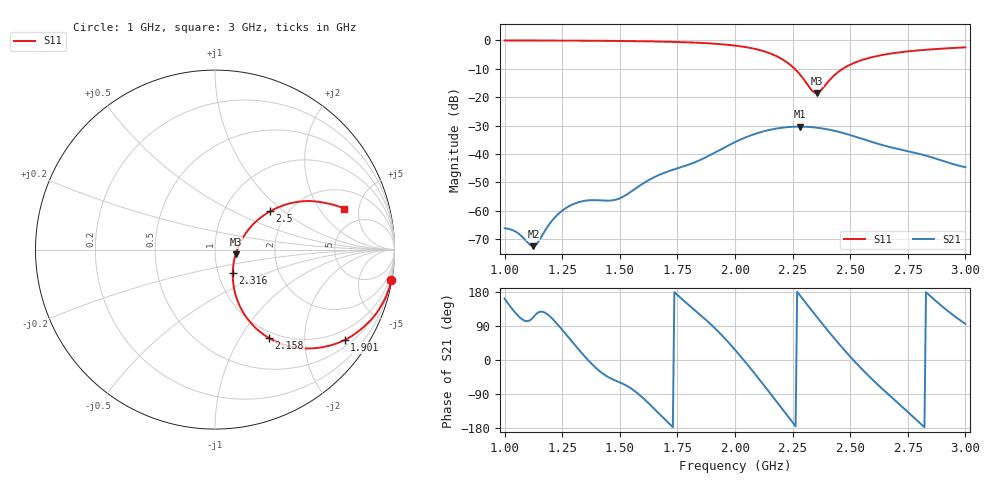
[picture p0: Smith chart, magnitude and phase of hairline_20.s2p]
! TOUCHSTONE file generated by CST MICROWAVE STUDIO
! Date and time: Tue Mar 18 20:31:44 2025
! Project name: hairline.cst
! Parameters = {B=12.5; D=160; F=25; Feed=2.85625; Fracture=1; L=100; M=30; R=0.384908; S=1.5; Theta=90; length=57.125; wave=114.25}
! Header version: 2024
! Port assignment regex: !\s*Touchstone port\s*([0-9]+)\s*=\s*(CST MWS port|CST DES external port|CST DES block port)\s*(.+)\s* \(\"(.*)\"\)(\s*mode\s*([0-9]+))?.*
! Touchstone port assignment:
! Touchstone port 1 = CST MWS port 1 ("")
! Touchstone port 2 = CST MWS port 2 ("")
# GHz S DB R 50
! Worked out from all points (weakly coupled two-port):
!   305 points, 1 GHz to 3 GHz, reference 50 ohm
!   highest |S21| = -30.39 dB at 2.283 GHz (marker M1); lowest = -72.5 dB at 1.125 GHz (marker M2)
!   lowest |S11| = -18.6 dB at 2.355 GHz (marker M3), VSWR 1.27, Z = 62.9 - j3.25 ohm
!   |S11| at or under -10 dB: 2.259 GHz to 2.468 GHz (209.1 MHz wide, 8.85 % of centre)
!   S12 and S22 are empty: the file has one direction only
!   S11 on the Smith chart (normalised r, x): 1 GHz: 0, -12; 1.901 GHz: 0.68, -3.04; 2.158 GHz: 0.91, -1.35; 2.316 GHz: 1.17, -0.32; 2.5 GHz: 1.64, +0.81; 3 GHz: 3.29, +3.48
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1  -0.02 -9.7  -66.21 162.0  -200.00 0.0  -200.00 0.0
1.05263  -0.03 -10.5  -67.64 120.4  -200.00 0.0  -200.00 0.0
1.125  -0.03 -11.5  -72.53 113.2  -200.00 0.0  -200.00 0.0
1.14474  -0.04 -11.8  -71.16 125.0  -200.00 0.0  -200.00 0.0
1.19079  -0.05 -12.6  -65.16 118.2  -200.00 0.0  -200.00 0.0
1.23026  -0.06 -13.2  -61.40 93.8  -200.00 0.0  -200.00 0.0
1.28289  -0.08 -14.1  -58.30 55.7  -200.00 0.0  -200.00 0.0
1.33553  -0.10 -15.2  -56.72 17.7  -200.00 0.0  -200.00 0.0
1.49342  -0.20 -18.7  -55.86 -57.4  -200.00 0.0  -200.00 0.0
1.67105  -0.41 -24.0  -47.40 -141.8  -200.00 0.0  -200.00 0.0
1.90132  -1.11 -34.9  -40.03 90.5  -200.00 0.0  -200.00 0.0
2  -1.83 -42.2  -35.84 27.0  -200.00 0.0  -200.00 0.0
2.15789  -4.76 -58.6  -31.41 -92.0  -200.00 0.0  -200.00 0.0
2.22368  -7.64 -65.1  -30.61 -143.8  -200.00 0.0  -200.00 0.0
2.28289  -12.10 -64.3  -30.39 169.6  -200.00 0.0  -200.00 0.0
2.31579  -15.69 -53.0  -30.48 143.9  -200.00 0.0  -200.00 0.0
2.33553  -17.78 -36.6  -30.60 128.7  -200.00 0.0  -200.00 0.0
2.35526  -18.57 -12.5  -30.76 113.5  -200.00 0.0  -200.00 0.0
2.44079  -11.60 33.9  -32.04 50.0  -200.00 0.0  -200.00 0.0
2.5  -8.55 34.8  -33.36 8.8  -200.00 0.0  -200.00 0.0
2.67105  -4.70 27.7  -37.57 -93.5  -200.00 0.0  -200.00 0.0
3  -2.45 17.6  -44.69 95.1  -200.00 0.0  -200.00 0.0
